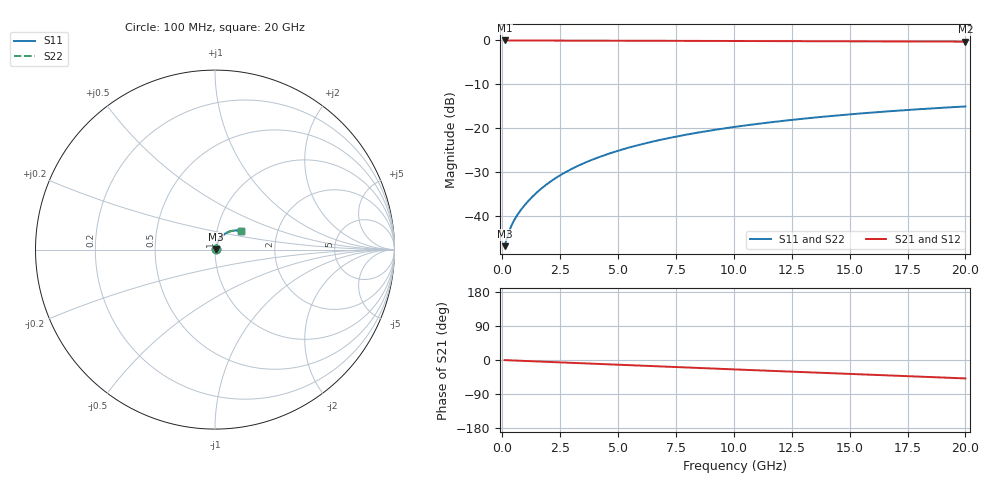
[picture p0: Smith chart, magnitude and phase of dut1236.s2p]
! Touchstone file exported from HFSS 2026.1.0
!  File:  C:/ffzhzh/LocalFiles/Ansys_Project_Files/temp_train_BSMRDL_1236_1783177085_43440.aedt
!  Generated:  10:59:22 PM Jul  4, 2026
!  Design:  BSMRDL
!  Project:  temp_train_BSMRDL_1236_1783177085_43440
! Variables:
!  h_bsmrdl = 3.15um
!  h_ox = 20um
!  h_rdl = 5um
!  h_sub = 80um
!  h_tmrdl = 5um
!  h_tsv = 80um
!  h_via = 3um
!  l_bsmrdl = 841.3um
!  l_sub = 1241.3um
!  l_tmrdl = 200um
!  m_sub = 200um
!  pitch = 32.34um
!  r_tsv = 6um
!  s_tmrdl = 10um
!  w_bsmrdl = 24.09um
!  w_sub = 500um
!  w_tmrdl = 12um
!  x_tsv_center1 = 206um
!  x_tsv_center2 = 1071.39um
!  x_tsv_center3 = 1283.39um
!  x_tsv_center4 = 2148.78um
!  x_tsv_center5 = 2360.78um
!  x_tsv_center6 = 3226.17um
# GHz S MA R 50.000000
! Terminal data exported
! Port[1] = BSM_RDL1_1_T1
! Port[2] = BSM_RDL1_1_T2
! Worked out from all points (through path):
!   200 points, 100 MHz to 20 GHz, reference 50 ohm
!   highest |S21| = -0.04 dB at 100 MHz (marker M1); lowest = -0.3 dB at 20 GHz (marker M2)
!   group delay of S21, straight-line fit = 6.73 ps
!   lowest |S11| = -46.9 dB at 100 MHz (marker M3), VSWR 1.01, Z = 50.4 + j0.17 ohm
!   |S11| at or under -10 dB: start of sweep to end of sweep
!   |S22| runs from -46.9 to -15.1 dB; largest |S21 - S12| = 4e-15
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0.1  0.004537 21.8  0.9958 -0.3  0.9958 -0.3  0.004537 21.8
! Gamma 0 0 0 0
! Port Impedance 50 0 50 0
0.2  0.005584 34.9  0.9954 -0.6  0.9954 -0.6  0.005584 34.9
0.3  0.006732 41.9  0.995 -0.8  0.995 -0.8  0.006732 41.9
0.4  0.007817 46.2  0.9947 -1.1  0.9947 -1.1  0.007818 46.2
0.5  0.008831 49.4  0.9944 -1.3  0.9944 -1.3  0.008833 49.4
0.6  0.009802 52.1  0.9942 -1.6  0.9942 -1.6  0.009804 52.1
0.8  0.0117 56.4  0.9939 -2.1  0.9939 -2.1  0.01171 56.4
1.2  0.01559 62.4  0.9935 -3.1  0.9935 -3.1  0.01559 62.4
1.7  0.02068 66.7  0.9931 -4.3  0.9931 -4.3  0.02068 66.6
2.2  0.02591 68.8  0.9927 -5.6  0.9927 -5.6  0.02591 68.7
2.8  0.03226 69.8  0.9922 -7.1  0.9922 -7.1  0.03226 69.8
3.5  0.03968 69.9  0.9915 -8.8  0.9915 -8.8  0.03968 69.9
4.2  0.04703 69.3  0.9906 -10.6  0.9906 -10.6  0.04703 69.3
5  0.05532 68.2  0.9896 -12.5  0.9896 -12.5  0.05532 68.2
5.9  0.06444 66.7  0.9883 -14.8  0.9883 -14.8  0.06444 66.6
6.8  0.07334 64.9  0.9869 -17.0  0.9869 -17.0  0.07334 64.8
8.3  0.08763 61.8  0.9844 -20.6  0.9844 -20.6  0.08763 61.7
10.1  0.1039 57.8  0.9814 -25.0  0.9814 -25.0  0.1039 57.8
11.7  0.1176 54.3  0.9787 -28.9  0.9787 -28.9  0.1176 54.2
13.4  0.1313 50.6  0.9759 -32.9  0.9759 -32.9  0.1313 50.4
16.7  0.1556 43.3  0.9706 -40.8  0.9706 -40.8  0.1556 43.1
20  0.1766 36.0  0.9657 -48.6  0.9657 -48.6  0.1766 35.8
